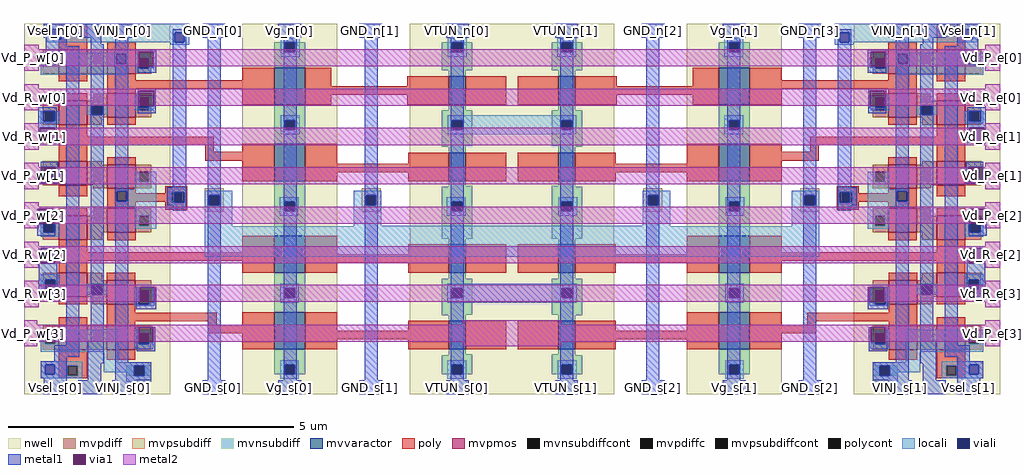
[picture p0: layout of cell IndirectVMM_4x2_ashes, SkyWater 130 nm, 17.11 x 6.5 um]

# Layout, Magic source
magic
tech sky130A
<< nwell >>
rect 1355 760 1384 794
rect 1355 144 1382 760
rect 2198 228 2224 274
<< locali >>
rect 1289 600 1448 633
rect 1137 415 1601 440
rect 1139 385 1598 415
rect 1288 305 1449 338
<< metal1 >>
rect 548 769 588 794
rect 608 769 648 794
rect 668 769 708 794
rect 826 769 866 794
rect 959 769 999 794
rect 1101 769 1141 794
rect 1253 769 1293 794
rect 1444 769 1484 794
rect 1596 769 1636 794
rect 1738 769 1778 794
rect 1871 769 1911 794
rect 2029 769 2069 794
rect 2089 769 2129 794
rect 2149 769 2189 794
rect 548 144 588 169
rect 608 144 648 169
rect 668 144 708 169
rect 826 144 866 169
rect 959 144 999 169
rect 1101 144 1141 169
rect 1253 144 1293 169
rect 1444 144 1484 169
rect 1596 144 1636 169
rect 1738 144 1778 169
rect 1871 144 1911 169
rect 2029 144 2069 169
rect 2089 144 2129 169
rect 2149 144 2189 169
<< metal2 >>
rect 513 711 539 757
rect 1355 719 1382 749
rect 2198 711 2224 757
rect 513 642 539 688
rect 1355 650 1382 680
rect 2198 642 2224 688
rect 513 573 539 619
rect 1355 581 1382 611
rect 2198 573 2224 619
rect 513 504 539 550
rect 1355 512 1382 542
rect 2198 504 2224 550
rect 513 435 539 481
rect 1355 443 1382 473
rect 2198 435 2224 481
rect 513 366 539 412
rect 1355 374 1382 404
rect 2198 366 2224 412
rect 513 297 539 343
rect 1355 306 1382 336
rect 2198 297 2224 343
rect 513 228 536 274
rect 1355 228 1383 274
rect 2198 228 2224 274
use IndirectVMM_4x1 *IndirectVMM_4x1_0 ../IndirectVMM_4x1
transform -1 0 2769 0 1 -11
box 545 155 1390 805
use IndirectVMM_4x1 *IndirectVMM_4x1_1
transform 1 0 -32 0 1 -11
box 545 155 1390 805
<< labels >>
flabel metal2 2198 228 2224 274 0 FreeSans 64 90 0 0 Vd_P_e[3]
port 23 nsew
flabel metal2 2198 297 2224 343 0 FreeSans 64 90 0 0 Vd_R_e[3]
port 24 nsew
flabel metal2 2198 366 2224 412 0 FreeSans 64 90 0 0 Vd_R_e[2]
port 25 nsew
flabel metal2 2198 435 2224 481 0 FreeSans 64 90 0 0 Vd_P_e[2]
port 26 nsew
flabel metal2 2198 504 2224 550 0 FreeSans 64 90 0 0 Vd_P_e[1]
port 27 nsew
flabel metal2 2198 573 2224 619 0 FreeSans 64 90 0 0 Vd_R_e[1]
port 28 nsew
flabel metal2 2198 642 2224 688 0 FreeSans 64 90 0 0 Vd_R_e[0]
port 29 nsew
flabel metal2 2198 711 2224 757 0 FreeSans 64 90 0 0 Vd_P_e[0]
port 30 nsew
flabel metal2 513 228 536 274 0 FreeSans 64 90 0 0 Vd_P_w[3]
port 32 nsew
flabel metal2 513 297 539 343 0 FreeSans 64 90 0 0 Vd_R_w[3]
port 33 nsew
flabel metal2 513 366 539 412 0 FreeSans 64 90 0 0 Vd_R_w[2]
port 34 nsew
flabel metal2 513 435 539 481 0 FreeSans 64 90 0 0 Vd_P_w[2]
port 35 nsew
flabel metal2 513 504 539 550 0 FreeSans 64 90 0 0 Vd_P_w[1]
port 36 nsew
flabel metal2 513 573 539 619 0 FreeSans 64 90 0 0 Vd_R_w[1]
port 37 nsew
flabel metal2 513 642 539 688 0 FreeSans 64 90 0 0 Vd_R_w[0]
port 38 nsew
flabel metal2 513 711 539 757 0 FreeSans 64 90 0 0 Vd_P_w[0]
port 39 nsew
flabel metal1 548 769 588 794 0 FreeSans 64 0 0 0 Vsel_n[0]
port 41 nsew
flabel metal1 608 769 648 794 0 FreeSans 64 0 0 0 Vs_n[0]
port 42 nsew
flabel metal1 668 769 708 794 0 FreeSans 64 0 0 0 VINJ_n[0]
port 43 nsew
flabel metal1 826 769 866 794 0 FreeSans 64 0 0 0 GND_n[0]
port 44 nsew
flabel metal1 1101 769 1141 794 0 FreeSans 64 0 0 0 GND_n[1]
port 45 nsew
flabel metal1 1596 769 1636 794 0 FreeSans 64 0 0 0 GND_n[2]
port 46 nsew
flabel metal1 1871 769 1911 794 0 FreeSans 64 0 0 0 GND_n[3]
port 47 nsew
flabel metal1 959 769 999 794 0 FreeSans 64 0 0 0 Vg_n[0]
port 48 nsew
flabel metal1 1253 769 1293 794 0 FreeSans 64 0 0 0 VTUN_n[0]
port 49 nsew
flabel metal1 1444 769 1484 794 0 FreeSans 64 0 0 0 VTUN_n[1]
port 51 nsew
flabel metal1 1738 769 1778 794 0 FreeSans 64 0 0 0 Vg_n[1]
port 52 nsew
flabel metal1 2029 769 2069 794 0 FreeSans 64 0 0 0 VINJ_n[1]
port 53 nsew
flabel metal1 2089 769 2129 794 0 FreeSans 64 0 0 0 Vs_n[1]
port 54 nsew
flabel metal1 2149 769 2189 794 0 FreeSans 64 0 0 0 Vsel_n[1]
port 55 nsew
flabel metal1 548 144 588 169 0 FreeSans 64 0 0 0 Vsel_s[0]
port 56 nsew
flabel metal1 608 144 648 169 0 FreeSans 64 0 0 0 Vs_s[0]
port 57 nsew
flabel metal1 668 144 708 169 0 FreeSans 64 0 0 0 VINJ_s[0]
port 58 nsew
flabel metal1 826 144 866 169 0 FreeSans 64 0 0 0 GND_s[0]
port 59 nsew
flabel metal1 1101 144 1141 169 0 FreeSans 64 0 0 0 GND_s[1]
port 60 nsew
flabel metal1 1596 144 1636 169 0 FreeSans 64 0 0 0 GND_s[2]
port 61 nsew
flabel metal1 1871 144 1911 169 0 FreeSans 64 0 0 0 GND_s[2]
port 62 nsew
flabel metal1 959 144 999 169 0 FreeSans 64 0 0 0 Vg_s[0]
port 64 nsew
flabel metal1 1738 144 1778 169 0 FreeSans 64 0 0 0 Vg_s[1]
port 67 nsew
flabel metal1 2029 144 2069 169 0 FreeSans 64 0 0 0 VINJ_s[1]
port 68 nsew
flabel metal1 2089 144 2129 169 0 FreeSans 64 0 0 0 Vs_s[1]
port 69 nsew
flabel metal1 2149 144 2189 169 0 FreeSans 64 0 0 0 Vsel_s[1]
port 70 nsew
flabel metal1 1253 144 1293 169 0 FreeSans 64 0 0 0 VTUN_s[0]
port 71 nsew
flabel metal1 1444 144 1484 169 0 FreeSans 64 0 0 0 VTUN_s[1]
port 72 nsew
<< end >>

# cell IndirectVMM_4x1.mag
magic
tech sky130A
<< nwell >>
rect 545 155 801 805
rect 928 155 1094 805
rect 1221 155 1387 805
<< mvpmos >>
rect 606 717 656 759
rect 691 717 741 759
rect 606 628 656 670
rect 691 641 741 683
rect 606 522 656 564
rect 691 516 741 558
rect 606 426 656 468
rect 691 439 741 481
rect 606 326 656 368
rect 690 313 740 355
rect 606 233 656 275
rect 690 233 740 275
<< mvvaractor >>
rect 984 663 1038 728
rect 1290 663 1319 713
rect 984 529 1038 594
rect 1290 529 1319 579
rect 984 368 1038 433
rect 1290 368 1319 418
rect 984 234 1038 299
rect 1290 234 1319 284
<< mvpdiff >>
rect 578 750 606 759
rect 578 733 582 750
rect 600 733 606 750
rect 578 717 606 733
rect 656 717 691 759
rect 741 744 768 759
rect 741 727 747 744
rect 764 727 768 744
rect 741 717 768 727
rect 666 670 691 683
rect 578 651 606 670
rect 578 634 582 651
rect 600 634 606 651
rect 578 628 606 634
rect 656 662 691 670
rect 656 645 664 662
rect 682 645 691 662
rect 656 641 691 645
rect 741 670 768 683
rect 741 653 747 670
rect 764 653 768 670
rect 741 641 768 653
rect 656 628 681 641
rect 578 553 606 564
rect 578 536 582 553
rect 600 536 606 553
rect 578 522 606 536
rect 656 558 681 564
rect 656 522 691 558
rect 666 516 691 522
rect 741 545 768 558
rect 741 528 747 545
rect 764 528 768 545
rect 741 516 768 528
rect 666 468 691 481
rect 578 456 606 468
rect 578 439 582 456
rect 600 439 606 456
rect 578 426 606 439
rect 656 439 691 468
rect 741 468 768 481
rect 741 451 747 468
rect 764 451 768 468
rect 741 439 768 451
rect 656 426 682 439
rect 578 356 606 368
rect 578 339 582 356
rect 600 339 606 356
rect 578 326 606 339
rect 656 355 682 368
rect 656 347 690 355
rect 656 330 664 347
rect 682 330 690 347
rect 656 326 690 330
rect 665 313 690 326
rect 740 337 768 355
rect 740 320 746 337
rect 764 320 768 337
rect 740 313 768 320
rect 578 261 606 275
rect 578 244 582 261
rect 600 244 606 261
rect 578 233 606 244
rect 656 233 690 275
rect 740 260 768 275
rect 740 243 746 260
rect 764 243 768 260
rect 740 233 768 243
<< mvpdiffc >>
rect 582 733 600 750
rect 747 727 764 744
rect 582 634 600 651
rect 664 645 682 662
rect 747 653 764 670
rect 582 536 600 553
rect 747 528 764 545
rect 582 439 600 456
rect 747 451 764 468
rect 582 339 600 356
rect 664 330 682 347
rect 746 320 764 337
rect 582 244 600 261
rect 746 243 764 260
<< mvpsubdiff >>
rect 862 504 895 516
rect 862 487 870 504
rect 887 487 895 504
rect 862 475 895 487
rect 1137 504 1170 516
rect 1137 487 1145 504
rect 1162 487 1170 504
rect 1137 475 1170 487
<< mvnsubdiff >>
rect 984 755 1003 772
rect 1020 755 1038 772
rect 984 728 1038 755
rect 1277 755 1296 772
rect 1313 755 1331 772
rect 1277 723 1331 755
rect 1290 713 1319 723
rect 984 636 1038 663
rect 1290 653 1319 663
rect 984 619 1003 636
rect 1020 619 1038 636
rect 984 594 1038 619
rect 1277 636 1331 653
rect 1277 619 1296 636
rect 1313 619 1331 636
rect 1277 591 1331 619
rect 1277 589 1319 591
rect 1290 579 1319 589
rect 984 493 1038 529
rect 1290 521 1319 529
rect 1290 519 1331 521
rect 984 476 1001 493
rect 1018 476 1038 493
rect 984 433 1038 476
rect 1277 493 1331 519
rect 1277 476 1294 493
rect 1311 476 1331 493
rect 1277 428 1331 476
rect 1290 418 1319 428
rect 984 341 1038 368
rect 1290 358 1319 368
rect 984 324 1002 341
rect 1019 324 1038 341
rect 984 299 1038 324
rect 1277 341 1331 358
rect 1277 324 1295 341
rect 1312 324 1331 341
rect 1277 295 1331 324
rect 1277 294 1319 295
rect 1290 284 1319 294
rect 984 207 1038 234
rect 1290 225 1319 234
rect 1290 224 1331 225
rect 724 205 768 206
rect 724 188 738 205
rect 756 188 768 205
rect 984 190 1002 207
rect 1019 190 1038 207
rect 1277 207 1331 224
rect 1277 190 1295 207
rect 1312 190 1331 207
<< mvpsubdiffcont >>
rect 870 487 887 504
rect 1145 487 1162 504
<< mvnsubdiffcont >>
rect 1003 755 1020 772
rect 1296 755 1313 772
rect 1003 619 1020 636
rect 1296 619 1313 636
rect 1001 476 1018 493
rect 1294 476 1311 493
rect 1002 324 1019 341
rect 1295 324 1312 341
rect 738 188 756 205
rect 1002 190 1019 207
rect 1295 190 1312 207
<< poly >>
rect 606 800 656 805
rect 606 783 622 800
rect 639 783 656 800
rect 606 759 656 783
rect 691 759 741 772
rect 606 704 656 717
rect 691 706 741 717
rect 928 706 984 728
rect 691 691 984 706
rect 691 683 741 691
rect 606 670 656 683
rect 928 663 984 691
rect 1038 695 1084 728
rect 1217 695 1290 713
rect 1038 680 1290 695
rect 1038 663 1084 680
rect 1217 663 1290 680
rect 1319 663 1390 713
rect 691 628 741 641
rect 606 607 656 628
rect 606 592 878 607
rect 606 564 656 592
rect 863 580 878 592
rect 928 580 984 594
rect 691 558 741 571
rect 863 565 984 580
rect 606 502 656 522
rect 928 529 984 565
rect 1038 559 1094 594
rect 1219 559 1290 579
rect 1038 544 1290 559
rect 1038 529 1094 544
rect 1219 529 1290 544
rect 1319 529 1390 579
rect 691 508 741 516
rect 793 509 831 520
rect 793 508 804 509
rect 691 493 804 508
rect 691 481 741 493
rect 793 492 804 493
rect 821 492 831 509
rect 606 468 656 481
rect 793 479 831 492
rect 606 404 656 426
rect 691 425 741 439
rect 928 404 984 433
rect 606 389 984 404
rect 606 368 656 389
rect 928 368 984 389
rect 1038 401 1094 433
rect 1219 401 1290 418
rect 1038 386 1290 401
rect 1038 368 1094 386
rect 1219 368 1290 386
rect 1319 368 1390 418
rect 690 355 740 368
rect 606 313 656 326
rect 690 298 740 313
rect 606 275 656 290
rect 690 283 883 298
rect 690 275 740 283
rect 867 277 883 283
rect 928 277 984 299
rect 867 262 984 277
rect 928 234 984 262
rect 1038 267 1094 299
rect 1219 267 1290 284
rect 1038 252 1290 267
rect 1038 234 1094 252
rect 1219 234 1290 252
rect 1319 234 1390 284
rect 606 205 656 233
rect 690 216 740 233
rect 606 188 622 205
rect 639 188 656 205
rect 606 183 656 188
<< polycont >>
rect 622 783 639 800
rect 804 492 821 509
rect 622 188 639 205
<< locali >>
rect 584 800 835 805
rect 584 795 622 800
rect 584 778 593 795
rect 610 783 622 795
rect 639 789 835 800
rect 639 783 809 789
rect 610 778 809 783
rect 584 772 809 778
rect 826 772 835 789
rect 801 768 835 772
rect 995 772 1028 780
rect 995 755 1003 772
rect 1020 755 1028 772
rect 574 752 724 754
rect 574 750 707 752
rect 574 733 582 750
rect 600 735 707 750
rect 600 733 724 735
rect 574 715 724 733
rect 741 745 768 752
rect 995 747 1028 755
rect 1288 772 1321 780
rect 1288 755 1296 772
rect 1313 755 1321 772
rect 1288 747 1321 755
rect 741 744 773 745
rect 741 727 747 744
rect 764 728 773 744
rect 764 727 768 728
rect 741 719 768 727
rect 739 675 772 679
rect 574 634 579 651
rect 600 634 608 651
rect 656 645 664 662
rect 682 645 691 662
rect 739 653 747 675
rect 764 674 772 675
rect 764 657 776 674
rect 764 653 772 657
rect 574 630 608 634
rect 995 636 1028 644
rect 995 619 1003 636
rect 1020 619 1028 636
rect 995 611 1028 619
rect 1288 636 1321 644
rect 1288 619 1296 636
rect 1313 619 1321 636
rect 1288 611 1321 619
rect 574 552 582 553
rect 574 535 581 552
rect 600 536 608 553
rect 598 535 608 536
rect 574 528 608 535
rect 739 528 747 545
rect 764 528 777 545
rect 739 515 777 528
rect 705 511 777 515
rect 705 494 708 511
rect 725 494 777 511
rect 705 484 777 494
rect 739 468 777 484
rect 796 509 829 518
rect 796 492 804 509
rect 826 492 829 509
rect 796 480 829 492
rect 862 504 910 512
rect 862 487 870 504
rect 887 487 910 504
rect 1123 504 1171 512
rect 574 456 608 464
rect 574 439 580 456
rect 600 439 608 456
rect 739 451 747 468
rect 764 451 777 468
rect 739 445 777 451
rect 862 450 910 487
rect 993 493 1026 501
rect 993 476 1001 493
rect 1020 476 1026 493
rect 993 468 1026 476
rect 1123 487 1145 504
rect 1162 487 1171 504
rect 1123 450 1171 487
rect 1286 493 1319 501
rect 1286 476 1294 493
rect 1313 476 1319 493
rect 1286 468 1319 476
rect 574 431 608 439
rect 862 435 1171 450
rect 862 396 1172 435
rect 574 356 608 366
rect 574 339 582 356
rect 600 339 608 356
rect 574 331 608 339
rect 656 347 690 349
rect 656 330 664 347
rect 682 330 690 347
rect 738 337 774 343
rect 738 313 746 337
rect 764 313 774 337
rect 994 341 1027 349
rect 994 324 1002 341
rect 1020 324 1027 341
rect 994 316 1027 324
rect 1287 341 1320 349
rect 1287 324 1295 341
rect 1313 324 1320 341
rect 1287 316 1320 324
rect 738 310 773 313
rect 685 268 710 269
rect 574 261 710 268
rect 574 244 582 261
rect 600 244 710 261
rect 574 230 710 244
rect 738 261 772 268
rect 738 243 746 261
rect 764 243 772 261
rect 738 235 772 243
rect 574 207 647 213
rect 574 190 582 207
rect 599 205 647 207
rect 599 190 622 205
rect 574 188 622 190
rect 639 188 647 205
rect 685 211 710 230
rect 685 205 768 211
rect 685 194 738 205
rect 574 183 647 188
rect 724 188 738 194
rect 756 188 768 205
rect 724 177 768 188
rect 994 207 1027 215
rect 994 190 1002 207
rect 1020 190 1027 207
rect 994 182 1027 190
rect 1287 207 1320 215
rect 1287 190 1295 207
rect 1313 190 1320 207
rect 1287 182 1320 190
<< viali >>
rect 593 778 610 795
rect 809 772 826 789
rect 1003 755 1020 772
rect 707 735 724 752
rect 1296 755 1313 772
rect 747 727 764 744
rect 579 634 582 651
rect 582 634 597 651
rect 665 645 682 662
rect 747 670 764 675
rect 747 658 764 670
rect 1003 619 1020 636
rect 1296 619 1313 636
rect 581 536 582 552
rect 582 536 598 552
rect 581 535 598 536
rect 708 494 725 511
rect 809 492 821 509
rect 821 492 826 509
rect 870 487 887 504
rect 580 439 582 456
rect 582 439 597 456
rect 1003 476 1018 493
rect 1018 476 1020 493
rect 1145 487 1162 504
rect 1296 476 1311 493
rect 1311 476 1313 493
rect 582 339 600 356
rect 665 330 682 347
rect 746 320 764 330
rect 746 313 764 320
rect 1003 324 1019 341
rect 1019 324 1020 341
rect 1296 324 1312 341
rect 1312 324 1313 341
rect 746 260 764 261
rect 746 244 764 260
rect 582 190 599 207
rect 738 188 756 205
rect 1003 190 1019 207
rect 1019 190 1020 207
rect 1296 190 1312 207
rect 1312 190 1313 207
<< metal1 >>
rect 580 795 620 805
rect 580 780 593 795
rect 583 778 593 780
rect 610 778 620 795
rect 640 780 680 805
rect 700 780 740 805
rect 806 789 829 795
rect 583 765 620 778
rect 662 769 680 780
rect 583 745 642 765
rect 570 651 602 658
rect 570 634 579 651
rect 597 634 602 651
rect 570 622 602 634
rect 570 596 573 622
rect 599 596 602 622
rect 570 595 602 596
rect 574 553 604 563
rect 574 527 575 553
rect 601 527 604 553
rect 574 524 604 527
rect 568 454 571 480
rect 568 439 580 454
rect 597 439 600 480
rect 568 433 600 439
rect 571 385 574 411
rect 600 385 603 411
rect 571 356 603 385
rect 571 339 582 356
rect 600 339 603 356
rect 571 326 603 339
rect 619 241 642 745
rect 662 662 685 769
rect 705 756 728 780
rect 806 772 809 789
rect 826 772 829 789
rect 858 780 898 805
rect 991 780 1031 805
rect 1133 780 1173 805
rect 1285 780 1325 805
rect 703 752 728 756
rect 703 735 707 752
rect 724 735 728 752
rect 703 729 728 735
rect 662 645 665 662
rect 682 645 685 662
rect 662 347 685 645
rect 662 330 665 347
rect 682 330 685 347
rect 662 248 685 330
rect 598 221 642 241
rect 598 213 620 221
rect 574 207 620 213
rect 574 190 582 207
rect 599 190 620 207
rect 574 183 620 190
rect 580 155 620 183
rect 657 210 685 248
rect 705 511 728 729
rect 744 756 777 759
rect 744 730 746 756
rect 772 730 777 756
rect 744 727 747 730
rect 764 727 777 730
rect 744 719 777 727
rect 744 687 776 691
rect 744 658 747 687
rect 773 661 776 687
rect 764 658 776 661
rect 744 648 776 658
rect 806 518 829 772
rect 705 494 708 511
rect 725 494 728 511
rect 705 211 728 494
rect 796 509 829 518
rect 796 492 809 509
rect 826 492 829 509
rect 796 487 829 492
rect 806 477 829 487
rect 867 504 890 780
rect 867 487 870 504
rect 887 487 890 504
rect 742 330 748 343
rect 742 313 746 330
rect 774 317 777 343
rect 764 313 777 317
rect 742 304 777 313
rect 743 244 746 273
rect 772 247 775 273
rect 764 244 775 247
rect 743 231 775 244
rect 657 180 680 210
rect 705 205 768 211
rect 705 188 738 205
rect 756 188 768 205
rect 705 180 768 188
rect 867 180 890 487
rect 1000 772 1023 780
rect 1000 755 1003 772
rect 1020 755 1023 772
rect 1000 636 1023 755
rect 1000 619 1003 636
rect 1020 619 1023 636
rect 1000 493 1023 619
rect 1000 476 1003 493
rect 1020 476 1023 493
rect 1000 341 1023 476
rect 1000 324 1003 341
rect 1020 324 1023 341
rect 1000 207 1023 324
rect 1000 190 1003 207
rect 1020 190 1023 207
rect 1000 180 1023 190
rect 1142 504 1165 780
rect 1142 487 1145 504
rect 1162 487 1165 504
rect 1142 180 1165 487
rect 1293 772 1316 780
rect 1293 755 1296 772
rect 1313 755 1316 772
rect 1293 636 1316 755
rect 1293 619 1296 636
rect 1313 619 1316 636
rect 1293 493 1316 619
rect 1293 476 1296 493
rect 1313 476 1316 493
rect 1293 341 1316 476
rect 1293 324 1296 341
rect 1313 324 1316 341
rect 1293 207 1316 324
rect 1293 190 1296 207
rect 1313 190 1316 207
rect 1293 180 1316 190
rect 640 155 680 180
rect 700 155 740 180
rect 858 155 898 180
rect 991 155 1031 180
rect 1133 155 1173 180
rect 1285 155 1325 180
<< via1 >>
rect 573 596 599 622
rect 575 552 601 553
rect 575 535 581 552
rect 581 535 598 552
rect 598 535 601 552
rect 575 527 601 535
rect 571 456 597 480
rect 571 454 580 456
rect 580 454 597 456
rect 574 385 600 411
rect 746 744 772 756
rect 746 730 747 744
rect 747 730 764 744
rect 764 730 772 744
rect 747 675 773 687
rect 747 661 764 675
rect 764 661 773 675
rect 748 330 774 343
rect 748 317 764 330
rect 764 317 774 330
rect 746 261 772 273
rect 746 247 764 261
rect 764 247 772 261
<< metal2 >>
rect 545 760 571 768
rect 545 756 1387 760
rect 545 730 746 756
rect 772 730 1387 756
rect 545 722 571 730
rect 545 691 571 699
rect 545 687 1387 691
rect 545 661 747 687
rect 773 661 1387 687
rect 545 653 571 661
rect 545 622 571 630
rect 545 596 573 622
rect 599 596 1387 622
rect 545 592 1387 596
rect 545 584 571 592
rect 545 553 571 561
rect 545 527 575 553
rect 601 527 1387 553
rect 545 523 1387 527
rect 545 515 571 523
rect 545 484 571 492
rect 545 480 1387 484
rect 545 446 571 480
rect 597 454 1387 480
rect 545 415 571 423
rect 545 411 1387 415
rect 545 385 574 411
rect 600 385 1387 411
rect 545 377 571 385
rect 545 347 571 354
rect 545 343 1387 347
rect 545 317 748 343
rect 774 317 1387 343
rect 545 308 571 317
rect 545 277 568 285
rect 1313 277 1387 285
rect 545 273 1387 277
rect 545 247 746 273
rect 772 247 1387 273
rect 545 239 568 247
rect 1314 239 1387 247
<< labels >>
flabel poly 1109 680 1123 695 0 FreeSans 80 0 0 0 FG[0]
flabel poly 1112 544 1126 559 0 FreeSans 80 0 0 0 FG[1]
flabel poly 1122 386 1136 401 0 FreeSans 80 0 0 0 FG[2]
flabel poly 1115 252 1129 267 0 FreeSans 80 0 0 0 FG[3]
flabel mvpdiff 666 725 680 740 0 FreeSans 80 0 0 0 Vmid[0]
flabel mvpdiff 666 532 680 547 0 FreeSans 80 0 0 0 Vmid[1]
flabel mvpdiff 664 445 678 460 0 FreeSans 80 0 0 0 Vmid[2]
flabel mvpdiff 666 245 680 260 0 FreeSans 80 0 0 0 Vmid[3]
flabel metal2 545 239 568 285 0 FreeSans 40 90 0 0 Vd_P[3]
port 33 nsew
flabel metal2 545 308 571 354 0 FreeSans 40 90 0 0 Vd_R[3]
port 34 nsew
flabel metal2 545 377 571 423 0 FreeSans 40 90 0 0 Vd_R[2]
port 35 nsew
flabel metal2 545 446 571 492 0 FreeSans 40 90 0 0 Vd_P[2]
port 36 nsew
flabel metal2 545 515 571 561 0 FreeSans 40 90 0 0 Vd_P[1]
port 37 nsew
flabel metal2 545 584 571 630 0 FreeSans 40 90 0 0 Vd_R[1]
port 38 nsew
flabel metal2 545 653 571 699 0 FreeSans 40 90 0 0 Vd_R[0]
port 39 nsew
flabel metal2 545 722 571 768 0 FreeSans 40 90 0 0 Vd_P[0]
port 40 nsew
flabel metal1 640 780 680 805 0 FreeSans 64 0 0 0 Vs
port 42 nsew
flabel metal1 580 780 620 805 0 FreeSans 64 0 0 0 Vsel
port 50 nsew
flabel metal1 700 780 740 805 0 FreeSans 64 0 0 0 VINJ
port 49 nsew
flabel metal1 1133 780 1173 805 0 FreeSans 64 0 0 0 GND
port 45 nsew
flabel metal1 1285 780 1325 805 0 FreeSans 64 0 0 0 VTUN
port 47 nsew
flabel metal1 991 780 1031 805 0 FreeSans 64 0 0 0 Vg
port 46 nsew
flabel metal1 858 780 898 805 0 FreeSans 64 0 0 0 GND
port 45 nsew
flabel metal1 858 155 898 180 0 FreeSans 64 0 0 0 GND
port 45 nsew
flabel metal1 991 155 1031 180 0 FreeSans 64 0 0 0 Vg
port 46 nsew
flabel metal1 1285 155 1325 180 0 FreeSans 64 0 0 0 VTUN
port 47 nsew
flabel metal1 1133 155 1173 180 0 FreeSans 64 0 0 0 GND
port 45 nsew
flabel metal1 700 155 740 180 0 FreeSans 64 0 0 0 VINJ
port 49 nsew
flabel metal1 640 155 680 180 0 FreeSans 64 0 0 0 Vs
port 42 nsew
flabel metal1 580 155 620 180 0 FreeSans 64 0 0 0 Vsel
port 50 nsew
<< end >>
